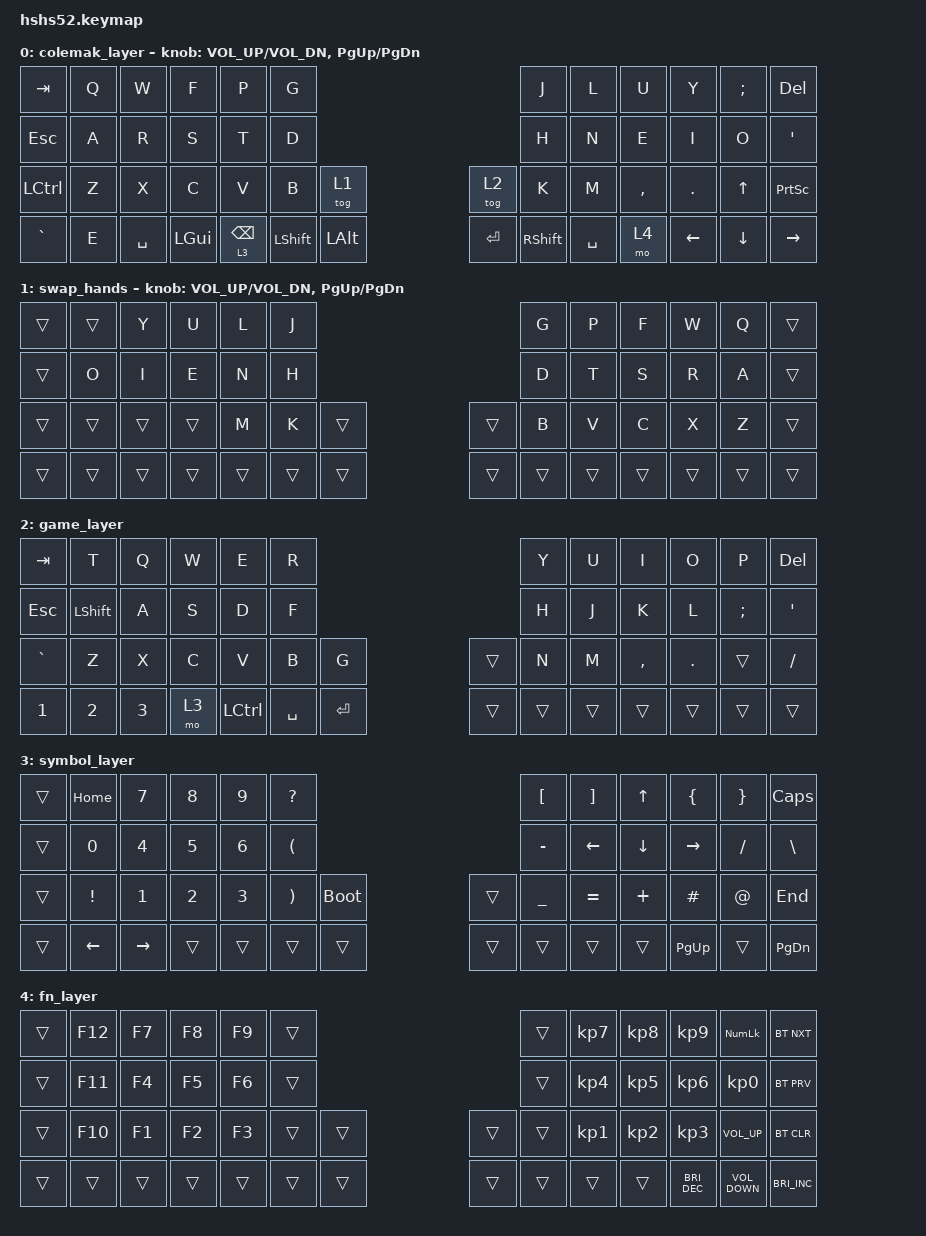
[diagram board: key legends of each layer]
/*
 * Copyright (c) 2021-2022 The ZMK Contributors
 *
 * SPDX-License-Identifier: MIT
 */

#include <behaviors.dtsi>
#include <dt-bindings/zmk/bt.h>
#include <dt-bindings/zmk/keys.h>

#define QWERTY_L 0
#define DVORAK_L 1
#define COLEMK_L 2
#define NAV_L    3
#define SYM_L    4
#define ADJ_L    5
#define Undo   LC(Z)
#define Cut    LC(X)
#define Copy   LC(C)
#define Paste  LC(V)
#define Redo   LC(Y)

&lt { flavor = "hold-preferred"; };

/ {
    keymap {
        compatible = "zmk,keymap";

        colemak_layer {
            /* COLEMAK-DH
 * -------------------------------------------------------------------------------------------------------------------------------------
 * | `     |   Q   |   W   |   F   |   P   |   B   |-----------------------------------|   J   |   L   |   U   |   Y   |   ;   | BKSPC |
 * | TAB   |   A   |   R   |   S   |   T   |   G   |-----------------------------------|   M   |   N   |   E   |   I   |   O   | ENTER |
 * | SHIFT |   Z   |   X   |   C   |   D   |   V   |   '   |-------------------|   /   |   K   |   H   |   ,   |   .   |  Up   | SHIFT |
 * | Mute  |  ESC  | CTRL  |-------|  GUI  |  ALT  |SK SHFT|  Nav  |---|  Sym  | SPACE |  ALT  |  GUI  |-------| Left  | Down  | Right |
 */

            bindings = <
&kp TAB     &kp Q  &kp W      &kp F  &kp P     &kp G                                                                  &kp J      &kp L  &kp U      &kp Y     &kp SEMI  &kp DELETE
&kp ESCAPE  &kp A  &kp R      &kp S  &kp T     &kp D                                                                  &kp H      &kp N  &kp E      &kp I     &kp O     &kp APOSTROPHE
&kp LCTRL   &kp Z  &kp X      &kp C  &kp V     &kp B            &tog 1                               &tog 2           &kp K      &kp M  &kp COMMA  &kp DOT   &kp UP    &kp PRINTSCREEN
&kp GRAVE   &kp E  &kp SPACE         &kp LGUI  &lt 3 BACKSPACE  &kp LSHIFT  &kp LEFT_ALT  &kp ENTER  &kp RIGHT_SHIFT  &kp SPACE  &mo 4             &kp LEFT  &kp DOWN  &kp RIGHT
            >;

            sensor-bindings = <&inc_dec_kp C_VOL_UP C_VOL_DN &inc_dec_kp PG_UP PG_DN>;
        };

        swap_hands {
            bindings = <
&trans  &trans  &kp Y   &kp U   &kp L   &kp J                                   &kp G   &kp P   &kp F  &kp W   &kp Q   &trans
&trans  &kp O   &kp I   &kp E   &kp N   &kp H                                   &kp D   &kp T   &kp S  &kp R   &kp A   &trans
&trans  &trans  &trans  &trans  &kp M   &kp K   &trans                  &trans  &kp B   &kp V   &kp C  &kp X   &kp Z   &trans
&trans  &trans  &trans          &trans  &trans  &trans  &trans  &trans  &trans  &trans  &trans         &trans  &trans  &trans
            >;

            sensor-bindings =
                <&inc_dec_kp C_VOL_UP C_VOL_DN>,
                <&inc_dec_kp PG_UP PG_DN>;
        };

        game_layer {
            bindings = <
&kp TAB    &kp T      &kp Q   &kp W  &kp E  &kp R                                            &kp Y   &kp U   &kp I      &kp O    &kp P     &kp DEL
&kp ESC    &kp LSHFT  &kp A   &kp S  &kp D  &kp F                                            &kp H   &kp J   &kp K      &kp L    &kp SEMI  &kp SQT
&kp GRAVE  &kp Z      &kp X   &kp C  &kp V  &kp B      &kp G                         &trans  &kp N   &kp M   &kp COMMA  &kp DOT  &trans    &kp SLASH
&kp N1     &kp N2     &kp N3         &mo 3  &kp LCTRL  &kp SPACE  &kp ENTER  &trans  &trans  &trans  &trans             &trans   &trans    &trans
            >;
        };

        symbol_layer {
            bindings = <
&trans  &kp HOME         &kp N7     &kp N8  &kp N9  &kp QUESTION                                                &kp LEFT_BRACKET  &kp RIGHT_BRACKET  &kp UP          &kp LEFT_BRACE  &kp RIGHT_BRACE  &kp CAPSLOCK
&trans  &kp N0           &kp N4     &kp N5  &kp N6  &kp LEFT_PARENTHESIS                                        &kp MINUS         &kp LEFT_ARROW     &kp DOWN_ARROW  &kp RIGHT       &kp SLASH        &kp BACKSLASH
&trans  &kp EXCLAMATION  &kp N1     &kp N2  &kp N3  &kp RIGHT_PARENTHESIS  &bootloader                  &trans  &kp UNDERSCORE    &kp EQUAL          &kp PLUS        &kp HASH        &kp AT_SIGN      &kp END
&trans  &kp LEFT         &kp RIGHT          &trans  &trans                 &trans       &trans  &trans  &trans  &trans            &trans                             &kp PAGE_UP     &trans           &kp PAGE_DOWN
            >;
        };

        fn_layer {
            bindings = <
&trans  &kp F12  &kp F7  &kp F8  &kp F9  &trans                                  &trans  &kp KP_N7  &kp KP_N8  &kp KP_N9             &kp KP_NUMLOCK     &bt BT_NXT
&trans  &kp F11  &kp F4  &kp F5  &kp F6  &trans                                  &trans  &kp KP_N4  &kp KP_N5  &kp KP_N6             &kp KP_N0          &bt BT_PRV
&trans  &kp F10  &kp F1  &kp F2  &kp F3  &trans  &trans                  &trans  &trans  &kp KP_N1  &kp KP_N2  &kp KP_N3             &kp C_VOLUME_UP    &bt BT_CLR
&trans  &trans   &trans          &trans  &trans  &trans  &trans  &trans  &trans  &trans  &trans                &kp C_BRIGHTNESS_DEC  &kp C_VOLUME_DOWN  &kp C_BRIGHTNESS_INC
            >;
        };
    };
};
